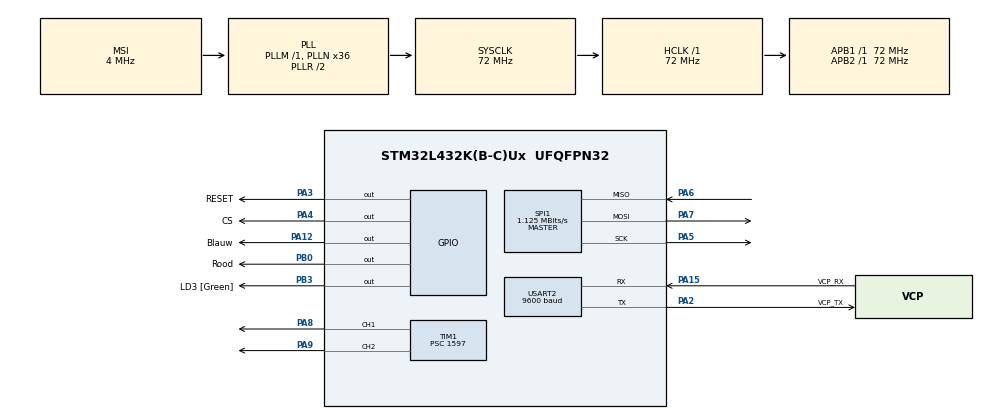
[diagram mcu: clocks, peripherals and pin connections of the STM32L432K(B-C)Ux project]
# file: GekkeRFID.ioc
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Mcu.Family=STM32L4
Mcu.Name=STM32L432K(B-C)Ux
Mcu.Package=UFQFPN32
NVIC.PriorityGroup=NVIC_PRIORITYGROUP_4
PA0.GPIO_Label=MCO [High speed clock in]
PA0.Mode=HSE-External-Clock-Source-for-LittleOrca
PA0.Signal=RCC_CK_IN
PA12.GPIO_Label=Blauw
PA12.Signal=GPIO_Output
PA13\ (JTMS-SWDIO).GPIO_Label=SWDIO
PA13\ (JTMS-SWDIO).Mode=Serial_Wire
PA13\ (JTMS-SWDIO).Signal=SYS_JTMS-SWDIO
PA14\ (JTCK-SWCLK).GPIO_Label=SWCLK
PA14\ (JTCK-SWCLK).Mode=Serial_Wire
PA14\ (JTCK-SWCLK).Signal=SYS_JTCK-SWCLK
PA15\ (JTDI).GPIO_Label=VCP_RX
PA15\ (JTDI).Mode=Asynchronous
PA15\ (JTDI).Signal=USART2_RX
PA2.GPIO_Label=VCP_TX
PA2.Mode=Asynchronous
PA2.Signal=USART2_TX
PA3.GPIO_Label=RESET
PA3.Signal=GPIO_Output
PA4.GPIO_Label=CS
PA4.Signal=GPIO_Output
PA5.Mode=Full_Duplex_Master
PA5.Signal=SPI1_SCK
PA6.Mode=Full_Duplex_Master
PA6.Signal=SPI1_MISO
PA7.Mode=Full_Duplex_Master
PA7.Signal=SPI1_MOSI
PA8.Signal=S_TIM1_CH1
PA9.Signal=S_TIM1_CH2
PB0.GPIO_Label=Rood
PB0.Signal=GPIO_Output
PB3\ (JTDO-TRACESWO).GPIO_Label=LD3 [Green]
PB3\ (JTDO-TRACESWO).Signal=GPIO_Output
PC14-OSC32_IN\ (PC14).Mode=LSE-External-Oscillator
PC14-OSC32_IN\ (PC14).Signal=RCC_OSC32_IN
PC15-OSC32_OUT\ (PC15).Mode=LSE-External-Oscillator
PC15-OSC32_OUT\ (PC15).Signal=RCC_OSC32_OUT
ProjectManager.HeapSize=0x200
ProjectManager.StackSize=0x400
ProjectManager.TargetToolchain=STM32CubeIDE
RCC.AHBFreq_Value=72000000
RCC.APB1Freq_Value=72000000
RCC.APB1TimFreq_Value=72000000
RCC.APB2Freq_Value=72000000
RCC.APB2TimFreq_Value=72000000
RCC.CortexFreq_Value=72000000
RCC.HCLKFreq_Value=72000000
RCC.HSE_VALUE=8000000
RCC.HSI16_VALUE=16000000
RCC.HSI48_VALUE=48000000
RCC.HSI_VALUE=16000000
RCC.MSI_VALUE=4000000
RCC.PLLMUL=RCC_PLLMUL_4
RCC.PLLN=36
RCC.SYSCLKFreq_VALUE=72000000
RCC.SYSCLKSource=RCC_SYSCLKSOURCE_PLLCLK
RCC.VCOOutputFreq_Value=144000000
SH.S_TIM1_CH1.0=TIM1_CH1,PWM Generation1 CH1
SH.S_TIM1_CH2.0=TIM1_CH2,PWM Generation2 CH2
SPI1.BaudRatePrescaler=SPI_BAUDRATEPRESCALER_64
SPI1.CalculateBaudRate=1.125 MBits/s
SPI1.DataSize=SPI_DATASIZE_8BIT
SPI1.Direction=SPI_DIRECTION_2LINES
SPI1.Mode=SPI_MODE_MASTER
SPI1.VirtualType=VM_MASTER
TIM1.Channel-PWM\ Generation1\ CH1=TIM_CHANNEL_1
TIM1.Channel-PWM\ Generation2\ CH2=TIM_CHANNEL_2
TIM1.Period=1000
TIM1.Prescaler=1597
USART2.BaudRate=9600
USART2.VirtualMode-Asynchronous=VM_ASYNC
VP_TIM1_VS_ClockSourceINT.Mode=Internal
board=NUCLEO-L432KC

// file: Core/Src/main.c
/* USER CODE BEGIN Header */
/**
 ******************************************************************************
 * @file           : main.c
 * @brief          : Main program body
 ******************************************************************************
 * @attention
 *
 * Copyright (c) 2026 STMicroelectronics.
 * All rights reserved.
 *
 * This software is licensed under terms that can be found in the LICENSE file
 * in the root directory of this software component.
 * If no LICENSE file comes with this software, it is provided AS-IS.
 *
 ******************************************************************************
 */
/* USER CODE END Header */
#include "main.h"

/* USER CODE BEGIN Includes */
#include "MFRC522_STM32.h"
#include <string.h>
/* USER CODE END Includes */

SPI_HandleTypeDef hspi1;

TIM_HandleTypeDef htim1;

UART_HandleTypeDef huart2;

/* USER CODE BEGIN PV */
uint8_t uid[4];
extern uint8_t atqa[];
/* USER CODE END PV */

void SystemClock_Config(void);
static void MX_GPIO_Init(void);
static void MX_SPI1_Init(void);
static void MX_USART2_UART_Init(void);
static void MX_TIM1_Init(void);
/* USER CODE BEGIN PFP */
MFRC522_t rfID = { &hspi1, CS_GPIO_Port, CS_Pin, RESET_GPIO_Port, RESET_Pin };
/* USER CODE END PFP */

/* USER CODE BEGIN 0 */
int _write(int fd, unsigned char *buf, int len);
/* USER CODE END 0 */

int main(void)
{

  /* MCU Configuration--------------------------------------------------------*/

  /* Reset of all peripherals, Initializes the Flash interface and the Systick. */
  HAL_Init();

  /* Configure the system clock */
  SystemClock_Config();

  /* Initialize all configured peripherals */
  MX_GPIO_Init();
  MX_SPI1_Init();
  MX_USART2_UART_Init();
  MX_TIM1_Init();
  /* USER CODE BEGIN 2 */
  MFRC522_Init(&rfID);
  HAL_TIM_PWM_Start(&htim1, TIM_CHANNEL_1);
  HAL_TIM_PWM_Start(&htim1, TIM_CHANNEL_2);
  /* USER CODE END 2 */

  /* Infinite loop */
  /* USER CODE BEGIN WHILE */
	while (1) {
		if (MFRC522_RequestA(&rfID, atqa) == STATUS_OK) {
			if (MFRC522_ReadUid(&rfID, uid) == STATUS_OK) {
				  if ((uid[0] == 0x03) && (uid[1] == 0xF5) &&(uid[2] == 0x4C) &&(uid[3] == 0xA6)){
					  HAL_GPIO_WritePin(GPIOB, Rood_Pin, GPIO_PIN_SET);
					  for(int pos = 73; pos <= 110; pos++)
					  {
					      TIM1->CCR1 = pos;
					      TIM1->CCR2 = pos;
					      HAL_Delay(20);
					  }
					  HAL_GPIO_WritePin(GPIOB, Rood_Pin, GPIO_PIN_RESET);
					  HAL_Delay(1000);
					  for(int pos = 110; pos >= 73; pos--)
					  {
					      TIM1->CCR1 = pos;
					      TIM1->CCR2 = pos;
					      HAL_Delay(20);
					  }
				  }

				  else if ((uid[0] == 0x73) && (uid[1] == 0x5C) &&(uid[2] == 0xEC) &&(uid[3] == 0x98)){
					  HAL_GPIO_WritePin(GPIOA, Blauw_Pin, GPIO_PIN_SET);
					  for(int pos = 73; pos >= 110; pos--)
					  {
					      TIM1->CCR1 = pos;
					      TIM1->CCR2 = pos;
					      HAL_Delay(20);
					  }
					  HAL_GPIO_WritePin(GPIOA, Blauw_Pin, GPIO_PIN_RESET);
					  HAL_Delay(1000);
					  for(int pos = 110; pos >= 73; pos--)
					  {
					      TIM1->CCR1 = pos;
					      TIM1->CCR2 = pos;
					      HAL_Delay(20);
					  }
				  }
			}
		}
    /* USER CODE END WHILE */

	}
}

void SystemClock_Config(void)
{
  RCC_OscInitTypeDef RCC_OscInitStruct = {0};
  RCC_ClkInitTypeDef RCC_ClkInitStruct = {0};

  /** Configure the main internal regulator output voltage
  */
  if (HAL_PWREx_ControlVoltageScaling(PWR_REGULATOR_VOLTAGE_SCALE1) != HAL_OK)
  {
    Error_Handler();
  }

  /** Configure LSE Drive Capability
  */
  HAL_PWR_EnableBkUpAccess();
  __HAL_RCC_LSEDRIVE_CONFIG(RCC_LSEDRIVE_LOW);

  /** Initializes the RCC Oscillators according to the specified parameters
  * in the RCC_OscInitTypeDef structure.
  */
  RCC_OscInitStruct.OscillatorType = RCC_OSCILLATORTYPE_LSE|RCC_OSCILLATORTYPE_MSI;
  RCC_OscInitStruct.LSEState = RCC_LSE_ON;
  RCC_OscInitStruct.MSIState = RCC_MSI_ON;
  RCC_OscInitStruct.MSICalibrationValue = 0;
  RCC_OscInitStruct.MSIClockRange = RCC_MSIRANGE_6;
  RCC_OscInitStruct.PLL.PLLState = RCC_PLL_ON;
  RCC_OscInitStruct.PLL.PLLSource = RCC_PLLSOURCE_MSI;
  RCC_OscInitStruct.PLL.PLLM = 1;
  RCC_OscInitStruct.PLL.PLLN = 36;
  RCC_OscInitStruct.PLL.PLLP = RCC_PLLP_DIV7;
  RCC_OscInitStruct.PLL.PLLQ = RCC_PLLQ_DIV2;
  RCC_OscInitStruct.PLL.PLLR = RCC_PLLR_DIV2;
  if (HAL_RCC_OscConfig(&RCC_OscInitStruct) != HAL_OK)
  {
    Error_Handler();
  }

  /** Initializes the CPU, AHB and APB buses clocks
  */
  RCC_ClkInitStruct.ClockType = RCC_CLOCKTYPE_HCLK|RCC_CLOCKTYPE_SYSCLK
                              |RCC_CLOCKTYPE_PCLK1|RCC_CLOCKTYPE_PCLK2;
  RCC_ClkInitStruct.SYSCLKSource = RCC_SYSCLKSOURCE_PLLCLK;
  RCC_ClkInitStruct.AHBCLKDivider = RCC_SYSCLK_DIV1;
  RCC_ClkInitStruct.APB1CLKDivider = RCC_HCLK_DIV1;
  RCC_ClkInitStruct.APB2CLKDivider = RCC_HCLK_DIV1;

  if (HAL_RCC_ClockConfig(&RCC_ClkInitStruct, FLASH_LATENCY_4) != HAL_OK)
  {
    Error_Handler();
  }

  /** Enable MSI Auto calibration
  */
  HAL_RCCEx_EnableMSIPLLMode();
}

static void MX_SPI1_Init(void)
{

  /* SPI1 parameter configuration*/
  hspi1.Instance = SPI1;
  hspi1.Init.Mode = SPI_MODE_MASTER;
  hspi1.Init.Direction = SPI_DIRECTION_2LINES;
  hspi1.Init.DataSize = SPI_DATASIZE_8BIT;
  hspi1.Init.CLKPolarity = SPI_POLARITY_LOW;
  hspi1.Init.CLKPhase = SPI_PHASE_1EDGE;
  hspi1.Init.NSS = SPI_NSS_SOFT;
  hspi1.Init.BaudRatePrescaler = SPI_BAUDRATEPRESCALER_64;
  hspi1.Init.FirstBit = SPI_FIRSTBIT_MSB;
  hspi1.Init.TIMode = SPI_TIMODE_DISABLE;
  hspi1.Init.CRCCalculation = SPI_CRCCALCULATION_DISABLE;
  hspi1.Init.CRCPolynomial = 7;
  hspi1.Init.CRCLength = SPI_CRC_LENGTH_DATASIZE;
  hspi1.Init.NSSPMode = SPI_NSS_PULSE_ENABLE;
  if (HAL_SPI_Init(&hspi1) != HAL_OK)
  {
    Error_Handler();
  }

}

static void MX_TIM1_Init(void)
{

  TIM_ClockConfigTypeDef sClockSourceConfig = {0};
  TIM_MasterConfigTypeDef sMasterConfig = {0};
  TIM_OC_InitTypeDef sConfigOC = {0};
  TIM_BreakDeadTimeConfigTypeDef sBreakDeadTimeConfig = {0};

  htim1.Instance = TIM1;
  htim1.Init.Prescaler = 1597;
  htim1.Init.CounterMode = TIM_COUNTERMODE_UP;
  htim1.Init.Period = 1000;
  htim1.Init.ClockDivision = TIM_CLOCKDIVISION_DIV1;
  htim1.Init.RepetitionCounter = 0;
  htim1.Init.AutoReloadPreload = TIM_AUTORELOAD_PRELOAD_DISABLE;
  if (HAL_TIM_Base_Init(&htim1) != HAL_OK)
  {
    Error_Handler();
  }
  sClockSourceConfig.ClockSource = TIM_CLOCKSOURCE_INTERNAL;
  if (HAL_TIM_ConfigClockSource(&htim1, &sClockSourceConfig) != HAL_OK)
  {
    Error_Handler();
  }
  if (HAL_TIM_PWM_Init(&htim1) != HAL_OK)
  {
    Error_Handler();
  }
  sMasterConfig.MasterOutputTrigger = TIM_TRGO_RESET;
  sMasterConfig.MasterOutputTrigger2 = TIM_TRGO2_RESET;
  sMasterConfig.MasterSlaveMode = TIM_MASTERSLAVEMODE_DISABLE;
  if (HAL_TIMEx_MasterConfigSynchronization(&htim1, &sMasterConfig) != HAL_OK)
  {
    Error_Handler();
  }
  sConfigOC.OCMode = TIM_OCMODE_PWM1;
  sConfigOC.Pulse = 0;
  sConfigOC.OCPolarity = TIM_OCPOLARITY_HIGH;
  sConfigOC.OCNPolarity = TIM_OCNPOLARITY_HIGH;
  sConfigOC.OCFastMode = TIM_OCFAST_DISABLE;
  sConfigOC.OCIdleState = TIM_OCIDLESTATE_RESET;
  sConfigOC.OCNIdleState = TIM_OCNIDLESTATE_RESET;
  if (HAL_TIM_PWM_ConfigChannel(&htim1, &sConfigOC, TIM_CHANNEL_1) != HAL_OK)
  {
    Error_Handler();
  }
  if (HAL_TIM_PWM_ConfigChannel(&htim1, &sConfigOC, TIM_CHANNEL_2) != HAL_OK)
  {
    Error_Handler();
  }
  sBreakDeadTimeConfig.OffStateRunMode = TIM_OSSR_DISABLE;
  sBreakDeadTimeConfig.OffStateIDLEMode = TIM_OSSI_DISABLE;
  sBreakDeadTimeConfig.LockLevel = TIM_LOCKLEVEL_OFF;
  sBreakDeadTimeConfig.DeadTime = 0;
  sBreakDeadTimeConfig.BreakState = TIM_BREAK_DISABLE;
  sBreakDeadTimeConfig.BreakPolarity = TIM_BREAKPOLARITY_HIGH;
  sBreakDeadTimeConfig.BreakFilter = 0;
  sBreakDeadTimeConfig.Break2State = TIM_BREAK2_DISABLE;
  sBreakDeadTimeConfig.Break2Polarity = TIM_BREAK2POLARITY_HIGH;
  sBreakDeadTimeConfig.Break2Filter = 0;
  sBreakDeadTimeConfig.AutomaticOutput = TIM_AUTOMATICOUTPUT_DISABLE;
  if (HAL_TIMEx_ConfigBreakDeadTime(&htim1, &sBreakDeadTimeConfig) != HAL_OK)
  {
    Error_Handler();
  }
  HAL_TIM_MspPostInit(&htim1);

}

static void MX_USART2_UART_Init(void)
{

  huart2.Instance = USART2;
  huart2.Init.BaudRate = 9600;
  huart2.Init.WordLength = UART_WORDLENGTH_8B;
  huart2.Init.StopBits = UART_STOPBITS_1;
  huart2.Init.Parity = UART_PARITY_NONE;
  huart2.Init.Mode = UART_MODE_TX_RX;
  huart2.Init.HwFlowCtl = UART_HWCONTROL_NONE;
  huart2.Init.OverSampling = UART_OVERSAMPLING_16;
  huart2.Init.OneBitSampling = UART_ONE_BIT_SAMPLE_DISABLE;
  huart2.AdvancedInit.AdvFeatureInit = UART_ADVFEATURE_NO_INIT;
  if (HAL_UART_Init(&huart2) != HAL_OK)
  {
    Error_Handler();
  }

}

static void MX_GPIO_Init(void)
{
  GPIO_InitTypeDef GPIO_InitStruct = {0};

  /* GPIO Ports Clock Enable */
  __HAL_RCC_GPIOC_CLK_ENABLE();
  __HAL_RCC_GPIOA_CLK_ENABLE();
  __HAL_RCC_GPIOB_CLK_ENABLE();

  /*Configure GPIO pin Output Level */
  HAL_GPIO_WritePin(GPIOA, RESET_Pin|CS_Pin|Blauw_Pin, GPIO_PIN_RESET);

  /*Configure GPIO pin Output Level */
  HAL_GPIO_WritePin(GPIOB, Rood_Pin|LD3_Pin, GPIO_PIN_RESET);

  /*Configure GPIO pins : RESET_Pin CS_Pin Blauw_Pin */
  GPIO_InitStruct.Pin = RESET_Pin|CS_Pin|Blauw_Pin;
  GPIO_InitStruct.Mode = GPIO_MODE_OUTPUT_PP;
  GPIO_InitStruct.Pull = GPIO_NOPULL;
  GPIO_InitStruct.Speed = GPIO_SPEED_FREQ_LOW;
  HAL_GPIO_Init(GPIOA, &GPIO_InitStruct);

  /*Configure GPIO pins : Rood_Pin LD3_Pin */
  GPIO_InitStruct.Pin = Rood_Pin|LD3_Pin;
  GPIO_InitStruct.Mode = GPIO_MODE_OUTPUT_PP;
  GPIO_InitStruct.Pull = GPIO_NOPULL;
  GPIO_InitStruct.Speed = GPIO_SPEED_FREQ_LOW;
  HAL_GPIO_Init(GPIOB, &GPIO_InitStruct);

}

/* USER CODE BEGIN 4 */
int _write(int fd, unsigned char *buf, int len) {
	if (fd == 1 || fd == 2) {                     // stdout or stderr ?
		HAL_UART_Transmit(&huart2, buf, len, 999);  // Print to the UART
	}
	return len;
}
/* USER CODE END 4 */

void Error_Handler(void)
{
	__disable_irq();
	while (1) {
	}
}
